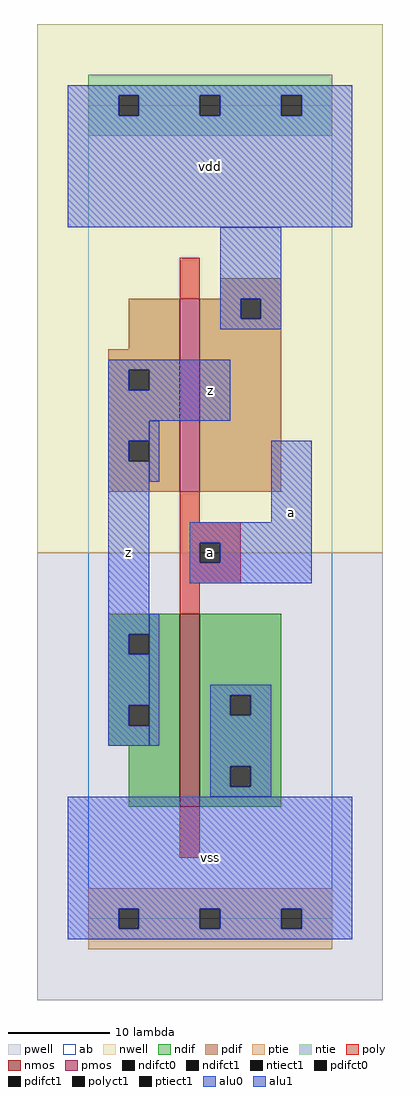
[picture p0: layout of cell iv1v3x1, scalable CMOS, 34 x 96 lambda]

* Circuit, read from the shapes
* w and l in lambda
.subckt iv1v3x1 a vdd vss z
M1 vss a z vss nfet w=19 l=2
M2 vdd a z vdd pfet w=19 l=2
.ends

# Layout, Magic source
magic
tech scmos
<< ab >>
rect 0 0 24 80
<< nwell >>
rect -5 36 29 88
<< pwell >>
rect -5 -8 29 36
<< poly >>
rect 9 61 11 65
rect 9 39 11 42
rect 9 37 15 39
rect 9 35 11 37
rect 13 35 15 37
rect 9 33 15 35
rect 9 30 11 33
rect 9 6 11 11
<< ndif >>
rect 2 28 9 30
rect 2 26 4 28
rect 6 26 9 28
rect 2 21 9 26
rect 2 19 4 21
rect 6 19 9 21
rect 2 17 9 19
rect 4 11 9 17
rect 11 22 19 30
rect 11 20 14 22
rect 16 20 19 22
rect 11 15 19 20
rect 11 13 14 15
rect 16 13 19 15
rect 11 11 19 13
<< pdif >>
rect 13 61 19 63
rect 4 56 9 61
rect 2 54 9 56
rect 2 52 4 54
rect 6 52 9 54
rect 2 47 9 52
rect 2 45 4 47
rect 6 45 9 47
rect 2 42 9 45
rect 11 59 15 61
rect 17 59 19 61
rect 11 42 19 59
<< alu1 >>
rect -2 81 26 82
rect -2 79 3 81
rect 5 79 11 81
rect 13 79 19 81
rect 21 79 26 81
rect -2 68 26 79
rect 2 54 14 55
rect 2 52 4 54
rect 6 52 14 54
rect 2 49 14 52
rect 2 47 6 49
rect 2 45 4 47
rect 2 28 6 45
rect 18 39 22 47
rect 10 37 22 39
rect 10 35 11 37
rect 13 35 22 37
rect 10 33 22 35
rect 2 26 4 28
rect 2 21 6 26
rect 2 19 4 21
rect 2 17 6 19
rect -2 1 26 12
rect -2 -1 3 1
rect 5 -1 11 1
rect 13 -1 19 1
rect 21 -1 26 1
rect -2 -2 26 -1
<< ptie >>
rect 0 1 24 3
rect 0 -1 3 1
rect 5 -1 11 1
rect 13 -1 19 1
rect 21 -1 24 1
rect 0 -3 24 -1
<< ntie >>
rect 0 81 24 83
rect 0 79 3 81
rect 5 79 11 81
rect 13 79 19 81
rect 21 79 24 81
rect 0 77 24 79
<< nmos >>
rect 9 11 11 30
<< pmos >>
rect 9 42 11 61
<< polyct1 >>
rect 11 35 13 37
<< ndifct0 >>
rect 14 20 16 22
rect 14 13 16 15
<< ndifct1 >>
rect 4 26 6 28
rect 4 19 6 21
<< ntiect1 >>
rect 3 79 5 81
rect 11 79 13 81
rect 19 79 21 81
<< ptiect1 >>
rect 3 -1 5 1
rect 11 -1 13 1
rect 19 -1 21 1
<< pdifct0 >>
rect 15 59 17 61
<< pdifct1 >>
rect 4 52 6 54
rect 4 45 6 47
<< alu0 >>
rect 13 61 19 68
rect 13 59 15 61
rect 17 59 19 61
rect 13 58 19 59
rect 6 43 7 49
rect 6 17 7 30
rect 12 22 18 23
rect 12 20 14 22
rect 16 20 18 22
rect 12 15 18 20
rect 12 13 14 15
rect 16 13 18 15
rect 12 12 18 13
<< labels >>
rlabel alu1 4 36 4 36 6 z
rlabel alu1 12 6 12 6 6 vss
rlabel polyct1 12 36 12 36 6 a
rlabel alu1 12 52 12 52 6 z
rlabel alu1 12 74 12 74 6 vdd
rlabel alu1 20 40 20 40 6 a
<< end >>
